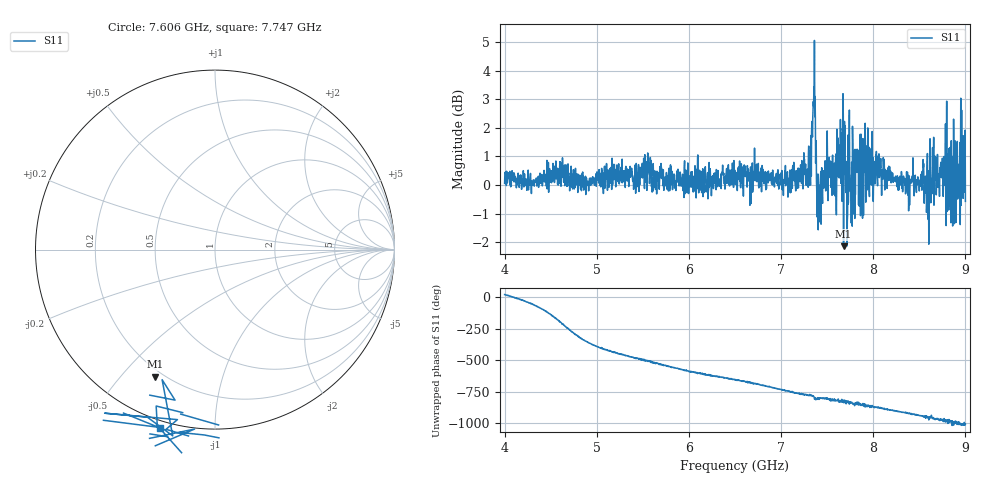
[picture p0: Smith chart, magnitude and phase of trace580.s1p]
! Created with skrf 1.8.0 (http://scikit-rf.org).
# Hz S RI R 50.0
!freq ReS11 ImS11
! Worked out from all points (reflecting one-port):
!   1601 points, 4 GHz to 9 GHz, reference 50 ohm
!   lowest |S11| = -2.1 dB at 7.678 GHz (marker M1), VSWR 8.16, Z = 8.55 - j31.1 ohm
!   phase of S11 starts at 23 deg and turns -1029 deg over the sweep
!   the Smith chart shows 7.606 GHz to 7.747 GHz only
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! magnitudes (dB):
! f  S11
! 4 GHz  0.1
! 4.625 GHz  0.6
! 4.891 GHz  0.0
! 5.25 GHz  0.3
! 5.875 GHz  0.2
! 6.5 GHz  0.4
! 7.125 GHz  0.6
! 7.297 GHz  1.1
! 7.356 GHz  3.4
! 7.409 GHz  -1.1
! 7.478 GHz  0.8
! 7.578 GHz  0.8
! 7.65 GHz  0.1
! 7.678 GHz  -2.1
! 7.703 GHz  -0.3
! 7.75 GHz  -0.2
! 7.775 GHz  2.0
! 7.8 GHz  -1.2
! 7.875 GHz  -0.4
! 7.928 GHz  1.2
! 8.375 GHz  0.1
! 8.522 GHz  0.0
! 8.588 GHz  1.1
! 8.675 GHz  0.2
! 8.822 GHz  1.3
! 8.844 GHz  -1.3
! 8.972 GHz  1.0
! 9 GHz  -0.6
